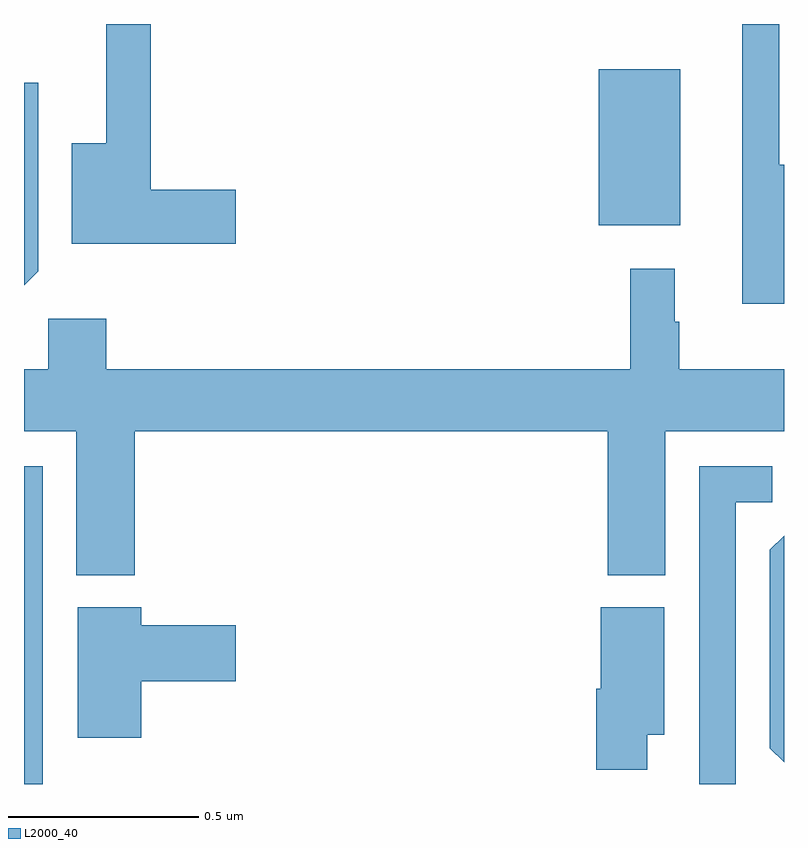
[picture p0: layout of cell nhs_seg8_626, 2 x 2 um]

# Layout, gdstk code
import gdstk
lib = gdstk.Library(unit=1e-6, precision=1e-09)
def R(c, l, rs):  # rectangles x0, y0, x1, y1
    for r in rs: c.add(gdstk.rectangle(r[:2], r[2:], *l))
def P(c, l, *ps):  # polygons
    for p in ps: c.add(gdstk.Polygon(p, *l))
L2000_40 = (2000, 40)

nhs_seg8_626 = lib.new_cell('nhs_seg8_626')
R(nhs_seg8_626, L2000_40, [(119,1120.9,119.049,1121.736), (120.512,1122.371,120.727,1122.781)])
P(nhs_seg8_626, L2000_40, [(121,1122.529),(120.987,1122.529),(120.987,1122.9),(120.89,1122.9),(120.89,1122.164),(121,1122.164)],
  [(119.557,1122.464),(119.333,1122.464),(119.333,1122.9),(119.216,1122.9),(119.216,1122.586),(119.126,1122.586),(119.126,1122.322),(119.557,1122.322)],
  [(119.037,1122.249),(119.037,1122.745),(119,1122.745),(119,1122.212)],
  [(119.291,1121.828),(120.536,1121.828),(120.536,1121.45),(120.688,1121.45),(120.688,1121.828),(121,1121.828),(121,1121.992),(120.724,1121.992),(120.724,1122.116),(120.712,1122.116),(120.712,1122.256),(120.595,1122.256),(120.595,1121.992),(119.216,1121.992),(119.216,1122.124),(119.064,1122.124),(119.064,1121.992),(119,1121.992),(119,1121.828),(119.138,1121.828),(119.138,1121.45),(119.291,1121.45)],
  [(120.873,1121.641),(120.969,1121.641),(120.969,1121.736),(120.777,1121.736),(120.777,1120.9),(120.873,1120.9)],
  [(121,1121.553),(120.963,1121.516),(120.963,1120.994),(121,1120.957)],
  [(120.64,1121.03),(120.685,1121.03),(120.685,1121.365),(120.518,1121.365),(120.518,1121.151),(120.506,1121.151),(120.506,1120.937),(120.64,1120.937)],
  [(119.308,1121.171),(119.557,1121.171),(119.557,1121.318),(119.308,1121.318),(119.308,1121.365),(119.141,1121.365),(119.141,1121.022),(119.308,1121.022)])

lib.write_gds('nhs_seg8_626.gds')
